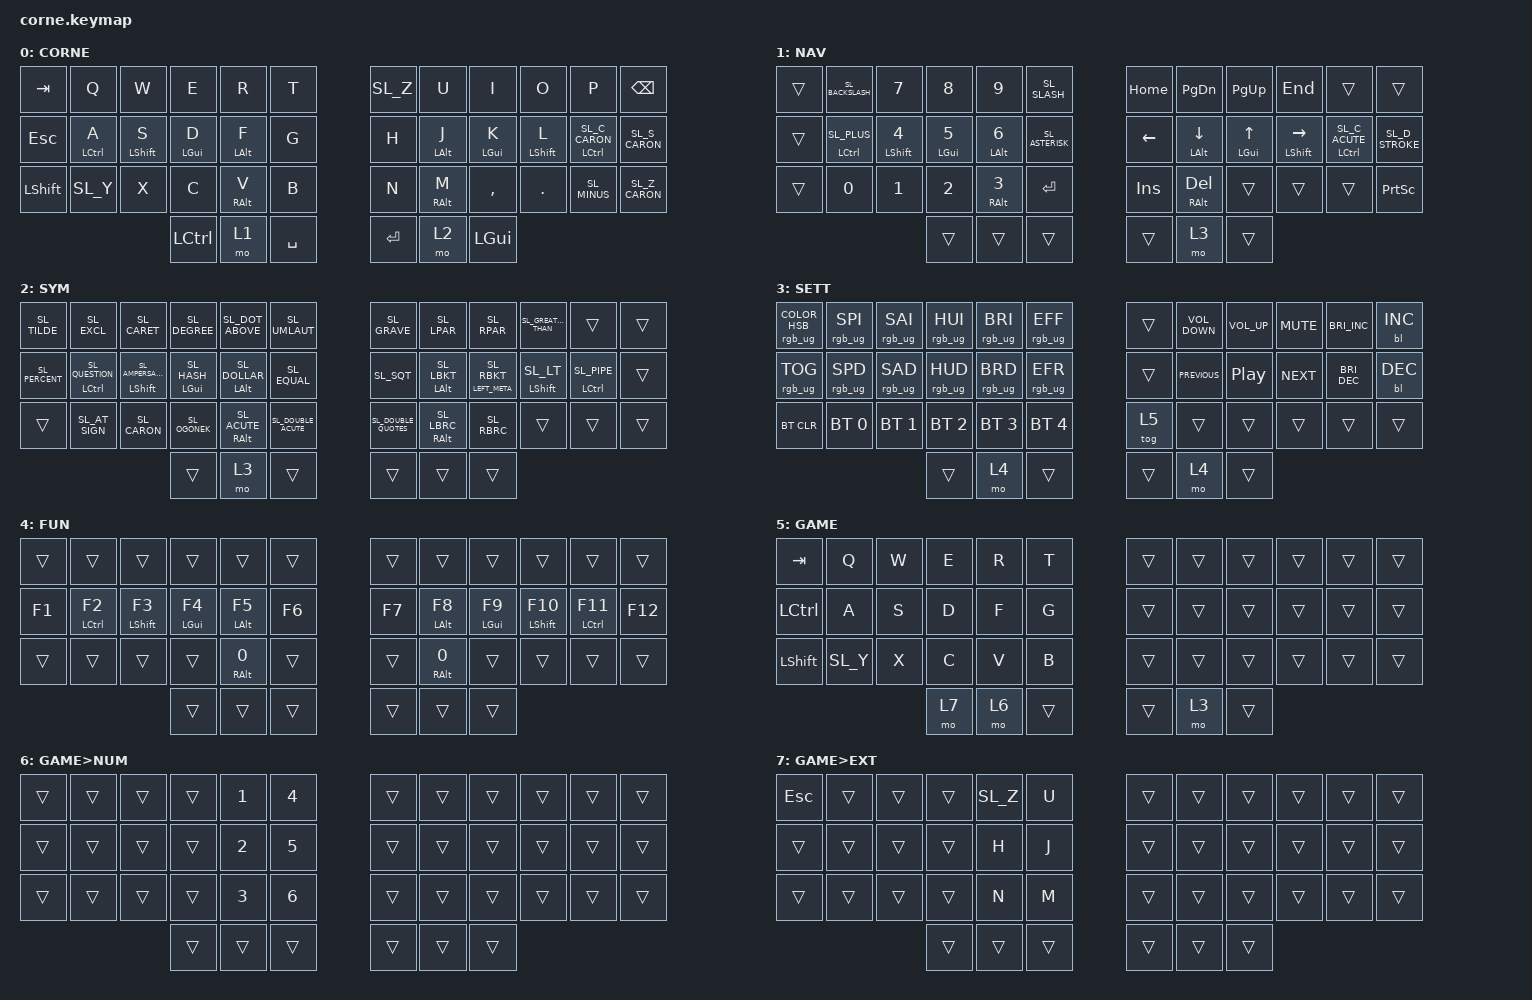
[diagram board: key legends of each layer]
/*
 * Copyright (c) 2020 The ZMK Contributors
 *
 * SPDX-License-Identifier: MIT
 */

#include <behaviors.dtsi>
#include "keys_sl.h"
#include <dt-bindings/zmk/backlight.h>
#include <dt-bindings/zmk/bt.h>
#include <dt-bindings/zmk/keys.h>
#include <dt-bindings/zmk/rgb.h>

&led_strip {
    chain-length = <27>;
};

/ {
    behaviors {
        htL: htL {
            compatible = "zmk,behavior-hold-tap";
            label = "HTL";
            bindings = <&kp>, <&kp>;

            #binding-cells = <2>;
            hold-trigger-key-positions = <6 7 8 9 10 11 18 19 20 21 22 23 30 31 32 33 34 35 39>;
            tapping-term-ms = <200>;
            flavor = "tap-preferred";
            hold-trigger-on-release;
            quick-tap-ms = <180>;
        };
        htR: htR {
            compatible = "zmk,behavior-hold-tap";
            label = "HTR";
            bindings = <&kp>, <&kp>;

            #binding-cells = <2>;
            tapping-term-ms = <200>;
            hold-trigger-key-positions = <0 1 2 3 4 5 12 13 14 15 16 17 24 25 26 27 28 29 38>;
            flavor = "tap-preferred";
            hold-trigger-on-release;
            quick-tap-ms = <180>;
        };
        capyword: capyword {
            compatible = "zmk,behavior-caps-word";
            label = "CAPYWORD";
            #binding-cells = <0>;
            mods = <(MOD_LSFT)>;
            continue-list = <A B D E G H I J K L M N O P R S T U V W X Y Z>;
        };
    };

    combos {
        compatible = "zmk,combos";

        new_combo {
            bindings = <&capyword>;
            key-positions = <24 12>;
        };
    };

    keymap {
        compatible = "zmk,keymap";

        default_layer {
            // -----------------------------------------------------------------------------------------
            // |  TAB |  Q  |  W  |  E  |  R  |  T  |   |  Y  |  U   |  I  |  O  |  P  | BKSP |
            // |  ESC |  A  |  S  |  D  |  F  |  G  |   |  H  |  J   |  K  |  L  |  ;  |  '   |
            // | SHFT |  Z  |  X  |  C  |  V  |  B  |   |  N  |  M   |  ,  |  .  |  /  | ESC  |
            //                    | GUI | LWR | SPC |   | ENT | RSE  | ALT |

            bindings = <
&kp TAB    &kp Q         &kp W              &kp E            &kp R             &kp T        &kp SL_Z  &kp U            &kp I            &kp O              &kp P                  &kp BSPC
&kp ESC    &htL LCTRL A  &htL LEFT_SHIFT S  &htL LEFT_GUI D  &htL LEFT_ALT F   &kp G        &kp H     &htR LEFT_ALT J  &htR LEFT_GUI K  &htR LEFT_SHIFT L  &htR LCTRL SL_C_CARON  &kp SL_S_CARON
&kp LSHFT  &kp SL_Y      &kp X              &kp C            &htL RIGHT_ALT V  &kp B        &kp N     &htR RALT M      &kp COMMA        &kp DOT            &kp SL_MINUS           &kp SL_Z_CARON
                                            &kp LCTRL        &mo 1             &kp SPACE    &kp RET   &mo 2            &kp LEFT_GUI
            >;

            label = "CORNE";
        };

        lower {
            // -----------------------------------------------------------------------------------------
            // |  TAB |  1  |  2  |  3  |  4  |  5  |   |  6  |  7  |  8  |  9  |  0  | BKSP |
            // | BTCLR| BT1 | BT2 | BT3 | BT4 | BT5 |   | LFT | DWN |  UP | RGT |     |      |
            // | SHFT |     |     |     |     |     |   |     |     |     |     |     |      |
            //                    | GUI |     | SPC |   | ENT |     | ALT |

            bindings = <
&trans  &kp SL_BACKSLASH    &kp N7              &kp N8        &kp N9            &kp SL_SLASH       &kp HOME    &kp PAGE_DOWN             &kp PAGE_UP       &kp END                      &trans                 &trans
&trans  &htL LCTRL SL_PLUS  &htL LEFT_SHIFT N4  &htL LGUI N5  &htL LEFT_ALT N6  &kp SL_ASTERISK    &kp LEFT    &htR LEFT_ALT DOWN_ARROW  &htR LEFT_GUI UP  &htR LEFT_SHIFT RIGHT_ARROW  &htR LCTRL SL_C_ACUTE  &kp SL_D_STROKE
&trans  &kp N0              &kp N1              &kp N2        &htL RALT N3      &kp ENTER          &kp INSERT  &htR RIGHT_ALT DELETE     &trans            &trans                       &trans                 &kp PRINTSCREEN
                                                &trans        &trans            &trans             &trans      &mo 3                     &trans
            >;

            label = "NAV";
        };

        raise {
            // -----------------------------------------------------------------------------------------
            // |  TAB |  !  |  @  |  #  |  $  |  %  |   |  ^  |  &  |  *  |  (  |  )  | BKSP |
            // | CTRL |     |     |     |     |     |   |  -  |  =  |  [  |  ]  |  \  |  `   |
            // | SHFT |     |     |     |     |     |   |  _  |  +  |  {  |  }  | "|" |  ~   |
            //                    | GUI |     | SPC |   | ENT |     | ALT |

            bindings = <
&kp SL_TILDE    &kp SL_EXCL             &kp SL_CARET                  &kp SL_DEGREE          &kp SL_DOT_ABOVE         &kp SL_UMLAUT          &kp SL_GRAVE          &kp SL_LPAR             &kp SL_RPAR             &kp SL_GREATER_THAN    &trans              &trans
&kp SL_PERCENT  &htL LCTRL SL_QUESTION  &htL LEFT_SHIFT SL_AMPERSAND  &htL LEFT_GUI SL_HASH  &htL LEFT_ALT SL_DOLLAR  &kp SL_EQUAL           &kp SL_SQT            &htR LEFT_ALT SL_LBKT   &htR LEFT_META SL_RBKT  &htR LEFT_SHIFT SL_LT  &htR LCTRL SL_PIPE  &trans
&trans          &kp SL_AT_SIGN          &kp SL_CARON                  &kp SL_OGONEK          &htL RIGHT_ALT SL_ACUTE  &kp SL_DOUBLE_ACUTE    &kp SL_DOUBLE_QUOTES  &htR RIGHT_ALT SL_LBRC  &kp SL_RBRC             &trans                 &trans              &trans
                                                                      &trans                 &mo 3                    &trans                 &trans                &trans                  &trans
            >;

            label = "SYM";
        };

        both {
            bindings = <
&rgb_ug RGB_COLOR_HSB(209,100,50)  &rgb_ug RGB_SPI  &rgb_ug RGB_SAI  &rgb_ug RGB_HUI  &rgb_ug RGB_BRI  &rgb_ug RGB_EFF    &trans  &kp C_VOLUME_DOWN  &kp C_VOLUME_UP   &kp K_MUTE  &kp C_BRIGHTNESS_INC  &bl BL_INC
&rgb_ug RGB_TOG                    &rgb_ug RGB_SPD  &rgb_ug RGB_SAD  &rgb_ug RGB_HUD  &rgb_ug RGB_BRD  &rgb_ug RGB_EFR    &trans  &kp C_PREVIOUS     &kp C_PLAY_PAUSE  &kp C_NEXT  &kp C_BRIGHTNESS_DEC  &bl BL_DEC
&bt BT_CLR                         &bt BT_SEL 0     &bt BT_SEL 1     &bt BT_SEL 2     &bt BT_SEL 3     &bt BT_SEL 4       &tog 5  &trans             &trans            &trans      &trans                &trans
                                                                     &trans           &mo 4            &trans             &trans  &mo 4              &trans
            >;

            label = "SETT";
        };

        fun {
            bindings = <
&trans  &trans         &trans              &trans            &trans            &trans    &trans  &trans            &trans            &trans               &trans          &trans
&kp F1  &htL LCTRL F2  &htL LEFT_SHIFT F3  &htL LEFT_GUI F4  &htL LEFT_ALT F5  &kp F6    &kp F7  &htR LEFT_ALT F8  &htR LEFT_GUI F9  &htR LEFT_SHIFT F10  &htR LCTRL F11  &kp F12
&trans  &trans         &trans              &trans            &htL RALT 0       &trans    &trans  &htR RIGHT_ALT 0  &trans            &trans               &trans          &trans
                                           &trans            &trans            &trans    &trans  &trans            &trans
            >;

            label = "FUN";
        };

        game {
            bindings = <
&kp TAB         &kp Q     &kp W  &kp E  &kp R  &kp T     &trans  &trans  &trans  &trans  &trans  &trans
&kp LCTRL       &kp A     &kp S  &kp D  &kp F  &kp G     &trans  &trans  &trans  &trans  &trans  &trans
&kp LEFT_SHIFT  &kp SL_Y  &kp X  &kp C  &kp V  &kp B     &trans  &trans  &trans  &trans  &trans  &trans
                                 &mo 7  &mo 6  &trans    &trans  &mo 3   &trans
            >;

            label = "GAME";
        };

        game_num {
            bindings = <
&trans  &trans  &trans  &trans  &kp N1  &kp N4    &trans  &trans  &trans  &trans  &trans  &trans
&trans  &trans  &trans  &trans  &kp N2  &kp N5    &trans  &trans  &trans  &trans  &trans  &trans
&trans  &trans  &trans  &trans  &kp N3  &kp N6    &trans  &trans  &trans  &trans  &trans  &trans
                        &trans  &trans  &trans    &trans  &trans  &trans
            >;

            label = "GAME>NUM";
        };

        game_extend {
            bindings = <
&kp ESCAPE  &trans  &trans  &trans  &kp SL_Z  &kp U     &trans  &trans  &trans  &trans  &trans  &trans
&trans      &trans  &trans  &trans  &kp H     &kp J     &trans  &trans  &trans  &trans  &trans  &trans
&trans      &trans  &trans  &trans  &kp N     &kp M     &trans  &trans  &trans  &trans  &trans  &trans
                            &trans  &trans    &trans    &trans  &trans  &trans
            >;

            label = "GAME>EXT";
        };
    };
};
